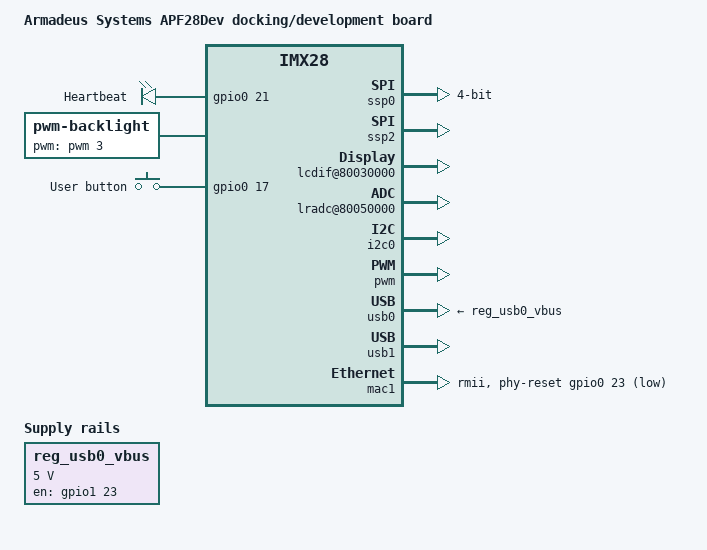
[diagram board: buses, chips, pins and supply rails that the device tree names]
/*
 * Copyright 2012 Armadeus Systems - <support@armadeus.com>
 *
 * The code contained herein is licensed under the GNU General Public
 * License. You may obtain a copy of the GNU General Public License
 * Version 2 or later at the following locations:
 *
 * http://www.opensource.org/licenses/gpl-license.html
 * http://www.gnu.org/copyleft/gpl.html
 */

/* APF28Dev is a docking board for the APF28 SOM */
#include "imx28-apf28.dts"

/ {
	model = "Armadeus Systems APF28Dev docking/development board";
	compatible = "armadeus,imx28-apf28dev", "armadeus,imx28-apf28", "fsl,imx28";

	apb@80000000 {
		apbh@80000000 {
			ssp0: ssp@80010000 {
				compatible = "fsl,imx28-mmc";
				pinctrl-names = "default";
				pinctrl-0 = <&mmc0_4bit_pins_a
					&mmc0_cd_cfg &mmc0_sck_cfg>;
				bus-width = <4>;
				status = "okay";
			};

			ssp2: ssp@80014000 {
				compatible = "fsl,imx28-spi";
				pinctrl-names = "default";
				pinctrl-0 = <&spi2_pins_a>;
				status = "okay";
			};

			pinctrl@80018000 {
				pinctrl-names = "default";
				pinctrl-0 = <&hog_pins_apf28dev>;

				hog_pins_apf28dev: hog@0 {
					reg = <0>;
					fsl,pinmux-ids = <
						MX28_PAD_LCD_D16__GPIO_1_16
						MX28_PAD_LCD_D17__GPIO_1_17
						MX28_PAD_LCD_D18__GPIO_1_18
						MX28_PAD_LCD_D19__GPIO_1_19
						MX28_PAD_LCD_D20__GPIO_1_20
						MX28_PAD_LCD_D21__GPIO_1_21
						MX28_PAD_LCD_D22__GPIO_1_22
						MX28_PAD_GPMI_CE1N__GPIO_0_17
					>;
					fsl,drive-strength = <MXS_DRIVE_4mA>;
					fsl,voltage = <MXS_VOLTAGE_HIGH>;
					fsl,pull-up = <MXS_PULL_DISABLE>;
				};

				lcdif_pins_apf28dev: lcdif-apf28dev@0 {
					reg = <0>;
					fsl,pinmux-ids = <
						MX28_PAD_LCD_RD_E__LCD_VSYNC
						MX28_PAD_LCD_WR_RWN__LCD_HSYNC
						MX28_PAD_LCD_RS__LCD_DOTCLK
						MX28_PAD_LCD_CS__LCD_ENABLE
					>;
					fsl,drive-strength = <MXS_DRIVE_4mA>;
					fsl,voltage = <MXS_VOLTAGE_HIGH>;
					fsl,pull-up = <MXS_PULL_DISABLE>;
				};

				usb0_otg_apf28dev: otg-apf28dev@0 {
					reg = <0>;
					fsl,pinmux-ids = <
						MX28_PAD_LCD_D23__GPIO_1_23
					>;
					fsl,drive-strength = <MXS_DRIVE_4mA>;
					fsl,voltage = <MXS_VOLTAGE_HIGH>;
					fsl,pull-up = <MXS_PULL_DISABLE>;
				};
			};

			lcdif@80030000 {
				pinctrl-names = "default";
				pinctrl-0 = <&lcdif_16bit_pins_a
						&lcdif_pins_apf28dev>;
				display = <&display0>;
				status = "okay";

				display0: display0 {
					bits-per-pixel = <16>;
					bus-width = <16>;

					display-timings {
						native-mode = <&timing0>;
						timing0: timing0 {
							clock-frequency = <33000033>;
							hactive = <800>;
							vactive = <480>;
							hback-porch = <96>;
							hfront-porch = <96>;
							vback-porch = <20>;
							vfront-porch = <21>;
							hsync-len = <64>;
							vsync-len = <4>;
							hsync-active = <1>;
							vsync-active = <1>;
							de-active = <1>;
							pixelclk-active = <0>;
						};
					};
				};
			};
		};

		apbx@80040000 {
			lradc@80050000 {
				fsl,lradc-touchscreen-wires = <4>;
				status = "okay";
			};

			i2c0: i2c@80058000 {
				pinctrl-names = "default";
				pinctrl-0 = <&i2c0_pins_a>;
				status = "okay";
			};

			pwm: pwm@80064000 {
				pinctrl-names = "default";
				pinctrl-0 = <&pwm3_pins_a &pwm4_pins_a>;
				status = "okay";
			};

			usbphy0: usbphy@8007c000 {
				status = "okay";
			};

			usbphy1: usbphy@8007e000 {
				status = "okay";
			};
		};
	};

	ahb@80080000 {
		usb0: usb@80080000 {
			pinctrl-names = "default";
			pinctrl-0 = <&usb0_otg_apf28dev>;
			vbus-supply = <&reg_usb0_vbus>;
			status = "okay";
		};

		usb1: usb@80090000 {
			status = "okay";
		};

		mac1: ethernet@800f4000 {
			phy-mode = "rmii";
			pinctrl-names = "default";
			pinctrl-0 = <&mac1_pins_a>;
			phy-reset-gpios = <&gpio0 23 0>;
			status = "okay";
		};
	};

	regulators {
		compatible = "simple-bus";
		#address-cells = <1>;
		#size-cells = <0>;

		reg_usb0_vbus: regulator@0 {
			compatible = "regulator-fixed";
			reg = <0>;
			regulator-name = "usb0_vbus";
			regulator-min-microvolt = <5000000>;
			regulator-max-microvolt = <5000000>;
			gpio = <&gpio1 23 1>;
			enable-active-high;
		};
	};

	leds {
		compatible = "gpio-leds";

		user {
			label = "Heartbeat";
			gpios = <&gpio0 21 0>;
			linux,default-trigger = "heartbeat";
		};
	};

	backlight {
		compatible = "pwm-backlight";

		pwms = <&pwm 3 191000>;
		brightness-levels = <0 4 8 16 32 64 128 255>;
		default-brightness-level = <6>;
	};

	gpio-keys {
		compatible = "gpio-keys";

		user-button {
			label = "User button";
			gpios = <&gpio0 17 0>;
			linux,code = <0x100>;
		};
	};
};
